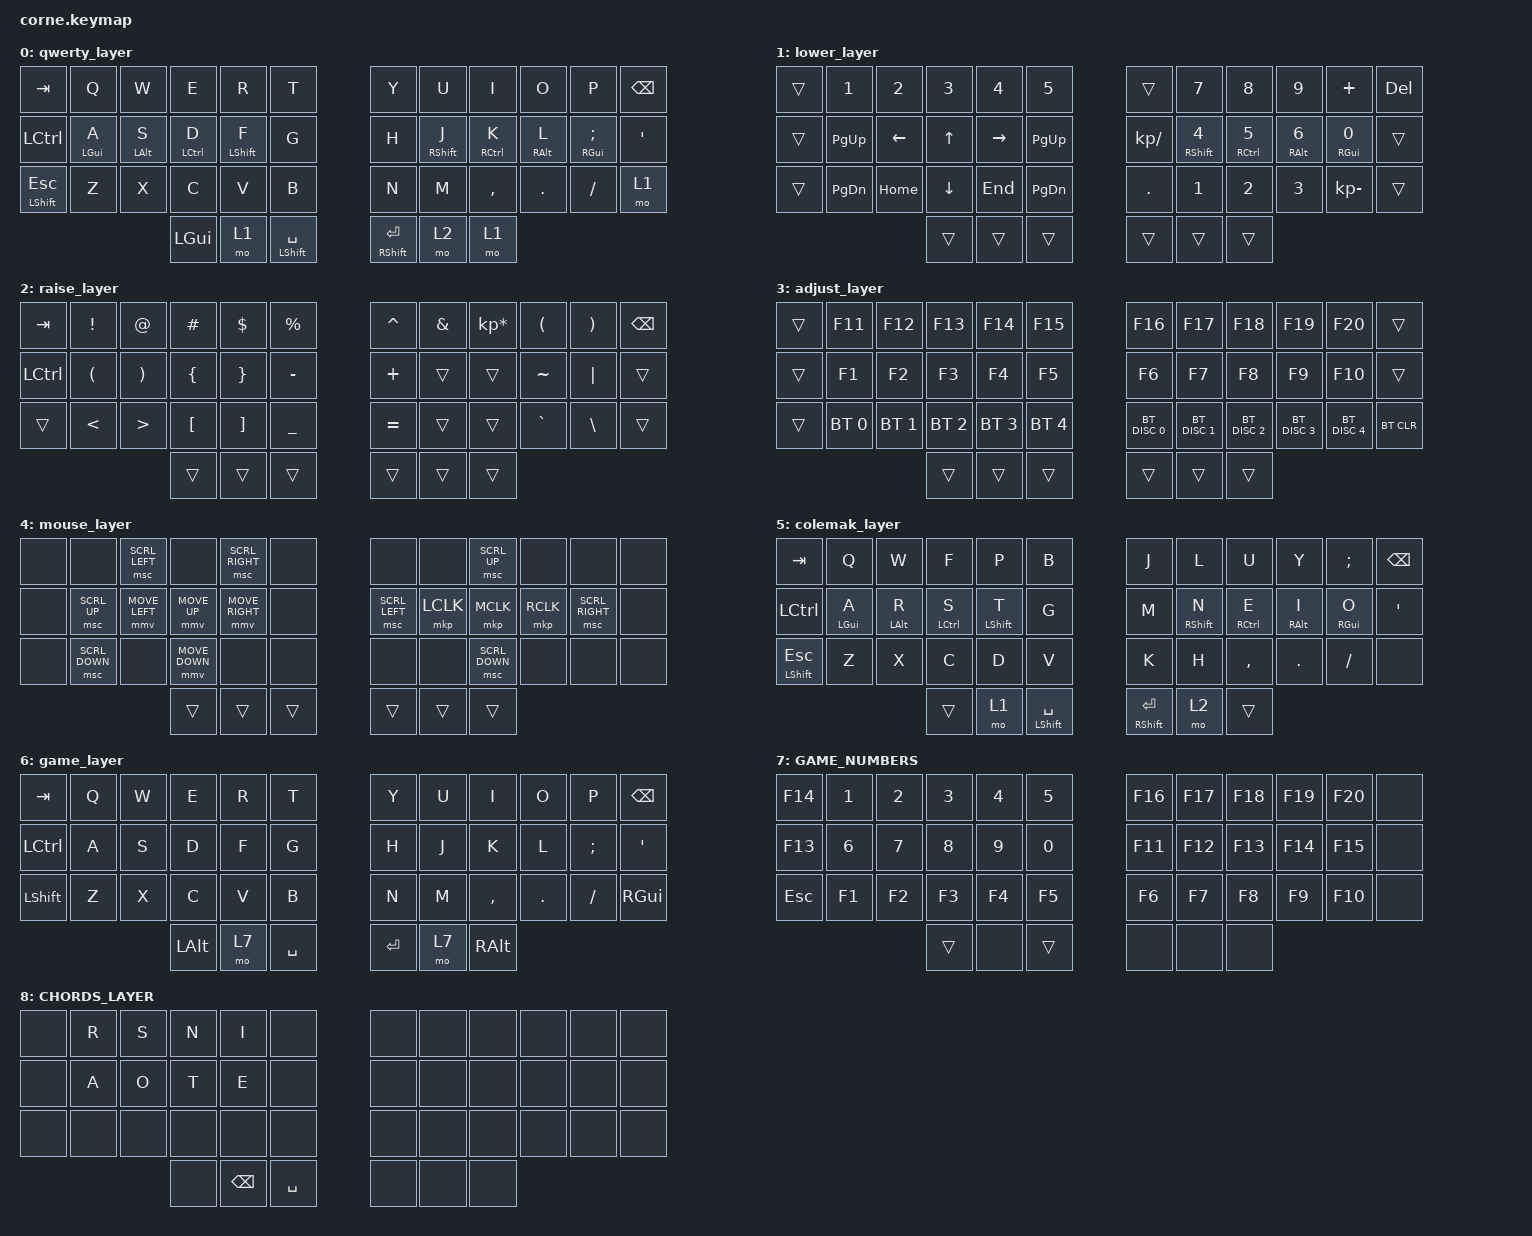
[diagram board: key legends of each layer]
/*
 * Copyright (c) 2020 The ZMK Contributors
 *
 * SPDX-License-Identifier: MIT
 */
// Generated by https://nickcoutsos.github.io/keymap-editor/

#include <behaviors.dtsi>
#include <dt-bindings/zmk/bt.h>
#include <dt-bindings/zmk/keys.h>
#include <dt-bindings/zmk/pointing.h>

#define COMBO_TIMEOUT 100

/ {
    behaviors {
        hmt: homerow_mod_tap {
            compatible = "zmk,behavior-hold-tap";
            #binding-cells = <2>;
            tapping-term-ms = <200>;
            quick-tap-ms = <0>;
            flavor = "balanced";
            bindings = <&kp>, <&kp>;
        };
    };

    combos {
        compatible = "zmk,combos";

        combo_layer_qwerty {
            bindings = <&to 0>;
            key-positions = <0 2>;
            timeout-ms = <COMBO_TIMEOUT>;
        };

        combo_layer_game {
            bindings = <&to 6>;
            key-positions = <0 3>;
            timeout-ms = <COMBO_TIMEOUT>;
        };

        combo_layer_chords {
            bindings = <&to 8>;
            key-positions = <0 4>;
            timeout-ms = <COMBO_TIMEOUT>;
        };

        combo_layer_colemak {
            bindings = <&to 5>;
            key-positions = <0 5>;
            timeout-ms = <COMBO_TIMEOUT>;
        };

        mouse_layer {
            bindings = <&to 4>;
            key-positions = <6 8>;
        };

        left_lower_b {
            bindings = <&kp B>;
            key-positions = <1 2>;
            layers = <8>;
            timeout-ms = <COMBO_TIMEOUT>;
        };

        left_lower_l {
            bindings = <&kp L>;
            key-positions = <13 14>;
            layers = <8>;
            timeout-ms = <COMBO_TIMEOUT>;
        };

        left_lower_p {
            bindings = <&kp P>;
            key-positions = <2 3>;
            layers = <8>;
            timeout-ms = <COMBO_TIMEOUT>;
        };

        left_lower_g {
            bindings = <&kp G>;
            key-positions = <1 4>;
            layers = <8>;
            timeout-ms = <COMBO_TIMEOUT>;
        };

        left_lower_z {
            bindings = <&kp Z>;
            key-positions = <1 3>;
            layers = <8>;
            timeout-ms = <COMBO_TIMEOUT>;
        };

        left_lower_q {
            bindings = <&kp Q>;
            key-positions = <13 15>;
            layers = <8>;
            timeout-ms = <COMBO_TIMEOUT>;
        };

        left_lower_x {
            bindings = <&kp X>;
            key-positions = <1 15>;
            layers = <8>;
            timeout-ms = <COMBO_TIMEOUT>;
        };

        left_lower_v {
            bindings = <&kp V>;
            key-positions = <2 16>;
            layers = <8>;
            timeout-ms = <COMBO_TIMEOUT>;
        };

        left_lower_m {
            bindings = <&kp M>;
            key-positions = <1 16>;
            layers = <8>;
            timeout-ms = <COMBO_TIMEOUT>;
        };

        left_lower_y {
            bindings = <&kp Y>;
            key-positions = <4 3>;
            layers = <8>;
            timeout-ms = <COMBO_TIMEOUT>;
        };

        left_lower_h {
            bindings = <&kp H>;
            key-positions = <16 15>;
            layers = <8>;
            timeout-ms = <COMBO_TIMEOUT>;
        };

        left_lower_u {
            bindings = <&kp U>;
            key-positions = <15 14>;
            layers = <8>;
            timeout-ms = <COMBO_TIMEOUT>;
        };

        left_lower_d {
            bindings = <&kp D>;
            key-positions = <13 16>;
            layers = <8>;
            timeout-ms = <COMBO_TIMEOUT>;
        };

        left_lower_f {
            bindings = <&kp F>;
            key-positions = <4 2>;
            layers = <8>;
            timeout-ms = <COMBO_TIMEOUT>;
        };

        left_lower_c {
            bindings = <&kp C>;
            key-positions = <16 14>;
            layers = <8>;
            timeout-ms = <COMBO_TIMEOUT>;
        };

        left_lower_k {
            bindings = <&kp K>;
            key-positions = <14 4>;
            layers = <8>;
            timeout-ms = <COMBO_TIMEOUT>;
        };

        left_lower_j {
            bindings = <&kp J>;
            key-positions = <13 3>;
            layers = <8>;
            timeout-ms = <COMBO_TIMEOUT>;
        };

        left_lower_w {
            bindings = <&kp W>;
            key-positions = <13 4>;
            layers = <8>;
            timeout-ms = <COMBO_TIMEOUT>;
        };

        left_forwardshash {
            bindings = <&kp SLASH>;
            key-positions = <2 15>;
            layers = <8>;
            timeout-ms = <COMBO_TIMEOUT>;
        };

        left_semicolon {
            bindings = <&kp SEMICOLON>;
            key-positions = <1 14>;
            layers = <8>;
            timeout-ms = <COMBO_TIMEOUT>;
        };

        left_comma {
            bindings = <&kp COMMA>;
            key-positions = <3 16>;
            layers = <8>;
            timeout-ms = <COMBO_TIMEOUT>;
        };

        left_minus {
            bindings = <&kp MINUS>;
            key-positions = <3 14>;
            layers = <8>;
            timeout-ms = <COMBO_TIMEOUT>;
        };

        left_question {
            bindings = <&kp QUESTION>;
            key-positions = <15 4>;
            layers = <8>;
            timeout-ms = <COMBO_TIMEOUT>;
        };

        left_quote {
            bindings = <&kp SINGLE_QUOTE>;
            key-positions = <13 2>;
            layers = <8>;
            timeout-ms = <COMBO_TIMEOUT>;
        };

        left_upper_r {
            bindings = <&kp LS(R)>;
            key-positions = <37 1>;
            layers = <8>;
            timeout-ms = <COMBO_TIMEOUT>;
        };

        left_upper_s {
            bindings = <&kp LS(S)>;
            key-positions = <37 2>;
            layers = <8>;
            timeout-ms = <COMBO_TIMEOUT>;
        };

        left_upper_n {
            bindings = <&kp LS(N)>;
            key-positions = <37 3>;
            layers = <8>;
            timeout-ms = <COMBO_TIMEOUT>;
        };

        left_upper_i {
            bindings = <&kp LS(I)>;
            key-positions = <37 4>;
            layers = <8>;
            timeout-ms = <COMBO_TIMEOUT>;
        };

        left_upper_a {
            bindings = <&kp LS(A)>;
            key-positions = <37 13>;
            layers = <8>;
            timeout-ms = <COMBO_TIMEOUT>;
        };

        left_upper_o {
            bindings = <&kp LS(O)>;
            key-positions = <37 14>;
            layers = <8>;
            timeout-ms = <COMBO_TIMEOUT>;
        };

        left_upper_t {
            bindings = <&kp LS(T)>;
            key-positions = <37 15>;
            layers = <8>;
            timeout-ms = <COMBO_TIMEOUT>;
        };

        left_upper_e {
            bindings = <&kp LS(E)>;
            key-positions = <37 16>;
            layers = <8>;
            timeout-ms = <COMBO_TIMEOUT>;
        };

        left_upper_b {
            bindings = <&kp LS(B)>;
            key-positions = <37 1 2>;
            layers = <8>;
            timeout-ms = <COMBO_TIMEOUT>;
        };

        left_upper_l {
            bindings = <&kp LS(L)>;
            key-positions = <37 13 14>;
            layers = <8>;
            timeout-ms = <COMBO_TIMEOUT>;
        };

        left_upper_p {
            bindings = <&kp LS(P)>;
            key-positions = <37 2 3>;
            layers = <8>;
            timeout-ms = <COMBO_TIMEOUT>;
        };

        left_upper_g {
            bindings = <&kp LS(G)>;
            key-positions = <37 1 4>;
            layers = <8>;
            timeout-ms = <COMBO_TIMEOUT>;
        };

        left_upper_z {
            bindings = <&kp LS(Z)>;
            key-positions = <37 1 3>;
            layers = <8>;
            timeout-ms = <COMBO_TIMEOUT>;
        };

        left_upper_q {
            bindings = <&kp LS(Q)>;
            key-positions = <37 13 15>;
            layers = <8>;
            timeout-ms = <COMBO_TIMEOUT>;
        };

        left_upper_x {
            bindings = <&kp LS(X)>;
            key-positions = <37 1 15>;
            layers = <8>;
            timeout-ms = <COMBO_TIMEOUT>;
        };

        left_upper_v {
            bindings = <&kp LS(V)>;
            key-positions = <37 2 16>;
            layers = <8>;
            timeout-ms = <COMBO_TIMEOUT>;
        };

        left_upper_m {
            bindings = <&kp LS(M)>;
            key-positions = <37 1 16>;
            layers = <8>;
            timeout-ms = <COMBO_TIMEOUT>;
        };

        left_upper_y {
            bindings = <&kp LS(Y)>;
            key-positions = <37 4 3>;
            layers = <8>;
            timeout-ms = <COMBO_TIMEOUT>;
        };

        left_upper_h {
            bindings = <&kp LS(H)>;
            key-positions = <37 16 15>;
            layers = <8>;
            timeout-ms = <COMBO_TIMEOUT>;
        };

        left_upper_u {
            bindings = <&kp LS(U)>;
            key-positions = <37 15 14>;
            layers = <8>;
            timeout-ms = <COMBO_TIMEOUT>;
        };

        left_upper_d {
            bindings = <&kp LS(D)>;
            key-positions = <37 13 16>;
            layers = <8>;
            timeout-ms = <COMBO_TIMEOUT>;
        };

        left_upper_f {
            bindings = <&kp LS(F)>;
            key-positions = <37 4 2>;
            layers = <8>;
            timeout-ms = <COMBO_TIMEOUT>;
        };

        left_upper_c {
            bindings = <&kp LS(C)>;
            key-positions = <37 16 14>;
            layers = <8>;
            timeout-ms = <COMBO_TIMEOUT>;
        };

        left_upper_k {
            bindings = <&kp LS(K)>;
            key-positions = <37 14 4>;
            layers = <8>;
            timeout-ms = <COMBO_TIMEOUT>;
        };

        left_upper_j {
            bindings = <&kp LS(J)>;
            key-positions = <37 13 3>;
            layers = <8>;
            timeout-ms = <COMBO_TIMEOUT>;
        };

        left_upper_w {
            bindings = <&kp LS(W)>;
            key-positions = <37 13 4>;
            layers = <8>;
            timeout-ms = <COMBO_TIMEOUT>;
        };

        left_backslash {
            bindings = <&kp BACKSLASH>;
            key-positions = <2 15 37>;
            layers = <8>;
            timeout-ms = <COMBO_TIMEOUT>;
        };

        left_colon {
            bindings = <&kp COLON>;
            key-positions = <37 1 14>;
            layers = <8>;
            timeout-ms = <COMBO_TIMEOUT>;
        };

        left_period {
            bindings = <&kp PERIOD>;
            key-positions = <37 16 3>;
            layers = <8>;
            timeout-ms = <COMBO_TIMEOUT>;
        };

        left_underscore {
            bindings = <&kp UNDERSCORE>;
            key-positions = <37 14 3>;
            layers = <8>;
            timeout-ms = <COMBO_TIMEOUT>;
        };

        left_bang {
            bindings = <&kp EXCLAMATION>;
            key-positions = <37 15 4>;
            layers = <8>;
            timeout-ms = <COMBO_TIMEOUT>;
        };

        left_double_quote {
            bindings = <&kp DOUBLE_QUOTES>;
            key-positions = <37 13 2>;
            layers = <8>;
            timeout-ms = <COMBO_TIMEOUT>;
        };

        left_9 {
            bindings = <&kp NUMBER_9>;
            key-positions = <38 1 2>;
            layers = <8>;
            timeout-ms = <COMBO_TIMEOUT>;
        };

        left_4 {
            bindings = <&kp NUMBER_4>;
            key-positions = <13 14 38>;
            layers = <8>;
            timeout-ms = <COMBO_TIMEOUT>;
        };

        left_7 {
            bindings = <&kp NUMBER_7>;
            key-positions = <2 3 38>;
            layers = <8>;
            timeout-ms = <COMBO_TIMEOUT>;
        };

        left_hash {
            bindings = <&kp HASH>;
            key-positions = <1 4 38>;
            layers = <8>;
            timeout-ms = <COMBO_TIMEOUT>;
        };

        left_8 {
            bindings = <&kp NUMBER_8>;
            key-positions = <1 3 38>;
            layers = <8>;
            timeout-ms = <COMBO_TIMEOUT>;
        };

        left_3 {
            bindings = <&kp NUMBER_3>;
            key-positions = <15 13 38>;
            layers = <8>;
            timeout-ms = <COMBO_TIMEOUT>;
        };

        left_carot {
            bindings = <&kp CARET>;
            key-positions = <1 15 38>;
            layers = <8>;
            timeout-ms = <COMBO_TIMEOUT>;
        };

        left_asterisk {
            bindings = <&kp ASTERISK>;
            key-positions = <16 2 38>;
            layers = <8>;
            timeout-ms = <COMBO_TIMEOUT>;
        };

        left_dollar {
            bindings = <&kp DOLLAR>;
            key-positions = <1 16 38>;
            layers = <8>;
            timeout-ms = <COMBO_TIMEOUT>;
        };

        left_pipe {
            bindings = <&kp PIPE>;
            key-positions = <2 15 38>;
            layers = <8>;
            timeout-ms = <COMBO_TIMEOUT>;
        };

        left_tilde {
            bindings = <&kp TILDE>;
            key-positions = <16 3 38>;
            layers = <8>;
            timeout-ms = <COMBO_TIMEOUT>;
        };

        left_5 {
            bindings = <&kp NUMBER_5>;
            key-positions = <3 4 38>;
            layers = <8>;
            timeout-ms = <COMBO_TIMEOUT>;
        };

        left_0 {
            bindings = <&kp NUMBER_0>;
            key-positions = <16 15 38>;
            layers = <8>;
            timeout-ms = <COMBO_TIMEOUT>;
        };

        left_2 {
            bindings = <&kp NUMBER_2>;
            key-positions = <14 15 38>;
            layers = <8>;
            timeout-ms = <COMBO_TIMEOUT>;
        };

        left_at {
            bindings = <&kp AT_SIGN>;
            key-positions = <13 16 38>;
            layers = <8>;
            timeout-ms = <COMBO_TIMEOUT>;
        };

        left_6 {
            bindings = <&kp NUMBER_6>;
            key-positions = <2 4 38>;
            layers = <8>;
            timeout-ms = <COMBO_TIMEOUT>;
        };

        left_1 {
            bindings = <&kp NUMBER_1>;
            key-positions = <16 14 38>;
            layers = <8>;
            timeout-ms = <COMBO_TIMEOUT>;
        };

        left_plus {
            bindings = <&kp PLUS>;
            key-positions = <14 4 38>;
            layers = <8>;
            timeout-ms = <COMBO_TIMEOUT>;
        };

        left_equal {
            bindings = <&kp EQUAL>;
            key-positions = <13 3 38>;
            layers = <8>;
            timeout-ms = <COMBO_TIMEOUT>;
        };

        left_and {
            bindings = <&kp AMPERSAND>;
            key-positions = <13 4 38>;
            layers = <8>;
            timeout-ms = <COMBO_TIMEOUT>;
        };

        left_percent {
            bindings = <&kp PERCENT>;
            key-positions = <14 3 38>;
            layers = <8>;
            timeout-ms = <COMBO_TIMEOUT>;
        };

        left_backtick {
            bindings = <&kp GRAVE>;
            key-positions = <13 2 38>;
            layers = <8>;
            timeout-ms = <COMBO_TIMEOUT>;
        };

        left_lessthan {
            bindings = <&kp LS(LESS_THAN)>;
            key-positions = <13 38>;
            layers = <8>;
            timeout-ms = <COMBO_TIMEOUT>;
        };

        left_greaterthan {
            bindings = <&kp GREATER_THAN>;
            key-positions = <1 38>;
            layers = <8>;
            timeout-ms = <COMBO_TIMEOUT>;
        };

        left_openbrace {
            bindings = <&kp LEFT_BRACE>;
            key-positions = <14 38>;
            layers = <8>;
            timeout-ms = <COMBO_TIMEOUT>;
        };

        left_closebrace {
            bindings = <&kp RIGHT_BRACE>;
            key-positions = <2 38>;
            layers = <8>;
            timeout-ms = <COMBO_TIMEOUT>;
        };

        left_openbracket {
            bindings = <&kp LEFT_BRACKET>;
            key-positions = <15 38>;
            layers = <8>;
            timeout-ms = <COMBO_TIMEOUT>;
        };

        left_closebracket {
            bindings = <&kp RIGHT_BRACKET>;
            key-positions = <3 38>;
            layers = <8>;
            timeout-ms = <COMBO_TIMEOUT>;
        };

        left_openparen {
            bindings = <&kp LEFT_PARENTHESIS>;
            key-positions = <16 38>;
            layers = <8>;
            timeout-ms = <COMBO_TIMEOUT>;
        };

        left_closeparen {
            bindings = <&kp RIGHT_PARENTHESIS>;
            key-positions = <4 38>;
            layers = <8>;
            timeout-ms = <COMBO_TIMEOUT>;
        };

        left_tab {
            bindings = <&kp TAB>;
            key-positions = <2 3 4>;
            layers = <8>;
            timeout-ms = <COMBO_TIMEOUT>;
        };

        left_enter {
            bindings = <&kp ENTER>;
            key-positions = <14 15 16>;
            layers = <8>;
            timeout-ms = <COMBO_TIMEOUT>;
        };

        left_super {
            bindings = <&sk LEFT_GUI>;
            key-positions = <1 13>;
            layers = <8>;
            timeout-ms = <COMBO_TIMEOUT>;
        };

        left_alt {
            bindings = <&sk LEFT_ALT>;
            key-positions = <2 14>;
            layers = <8>;
            timeout-ms = <COMBO_TIMEOUT>;
        };

        left_control {
            bindings = <&sk LEFT_CONTROL>;
            key-positions = <3 15>;
            layers = <8>;
            timeout-ms = <COMBO_TIMEOUT>;
        };

        left_shift {
            bindings = <&sk LEFT_SHIFT>;
            key-positions = <4 16>;
            layers = <8>;
            timeout-ms = <COMBO_TIMEOUT>;
        };

        left_delete {
            bindings = <&kp DELETE>;
            key-positions = <2 3 4 38>;
            layers = <8>;
            timeout-ms = <COMBO_TIMEOUT>;
        };

        left_backspace {
            bindings = <&kp BACKSPACE>;
            key-positions = <2 3 4 37>;
            layers = <8>;
            timeout-ms = <COMBO_TIMEOUT>;
        };

        left_escape {
            bindings = <&kp ESCAPE>;
            key-positions = <14 15 16 37>;
            layers = <8>;
            timeout-ms = <COMBO_TIMEOUT>;
        };
    };

    keymap {
        compatible = "zmk,keymap";

        qwerty_layer {
            // -----------------------------------------------------------------------------------------
            // |  TAB |  Q  |  W  |  E  |  R  |  T  |   |  Y  |  U   |  I  |  O  |  P  | BKSP |
            // | CTRL |  A  |  S  |  D  |  F  |  G  |   |  H  |  J   |  K  |  L  |  ;  |  '   |
            // | SHFT |  Z  |  X  |  C  |  V  |  B  |   |  N  |  M   |  ,  |  .  |  /  | GAME |
            //                    | GUI | LWR | SPC |   | ENT | RSE  | ALT |

            bindings = <
&kp TAB         &kp Q        &kp W        &kp E         &kp R         &kp T                    &kp Y                 &kp U         &kp I         &kp O        &kp P           &kp BSPC
&kp LCTRL       &hmt LGUI A  &hmt LALT S  &hmt LCTRL D  &hmt LSHFT F  &kp G                    &kp H                 &hmt RSHFT J  &hmt RCTRL K  &hmt RALT L  &hmt RGUI SEMI  &kp SQT
&hmt LSHFT ESC  &kp Z        &kp X        &kp C         &kp V         &kp B                    &kp N                 &kp M         &kp COMMA     &kp DOT      &kp FSLH        &mo 1
                                          &kp LGUI      &mo 1         &hmt LEFT_SHIFT SPACE    &hmt RIGHT_SHIFT RET  &mo 2         &mo 1
            >;
        };

        lower_layer {
            bindings = <
&trans  &kp N1         &kp N2    &kp N3    &kp N4     &kp N5           &trans         &kp N7          &kp N8         &kp N9             &kp PLUS           &kp DEL
&trans  &kp PAGE_UP    &kp LEFT  &kp UP    &kp RIGHT  &kp PAGE_UP      &kp KP_DIVIDE  &hmt RSHIFT N4  &hmt RCTRL N5  &hmt RIGHT_ALT N6  &hmt RIGHT_GUI N0  &trans
&trans  &kp PAGE_DOWN  &kp HOME  &kp DOWN  &kp END    &kp PAGE_DOWN    &kp PERIOD     &kp N1          &kp N2         &kp N3             &kp KP_MINUS       &trans
                                 &trans    &trans     &trans           &trans         &trans          &trans
            >;
        };

        raise_layer {
            bindings = <
&kp TAB    &kp EXCL              &kp AT                 &kp HASH          &kp DLLR           &kp PRCNT         &kp CARET  &kp AMPS  &kp KP_MULTIPLY  &kp LPAR   &kp RPAR       &kp BSPC
&kp LCTRL  &kp LEFT_PARENTHESIS  &kp RIGHT_PARENTHESIS  &kp LEFT_BRACE    &kp RIGHT_BRACE    &kp MINUS         &kp PLUS   &trans    &trans           &kp TILDE  &kp PIPE       &trans
&trans     &kp LT                &kp GT                 &kp LEFT_BRACKET  &kp RIGHT_BRACKET  &kp UNDERSCORE    &kp EQUAL  &trans    &trans           &kp GRAVE  &kp BACKSLASH  &trans
                                                        &trans            &trans             &trans            &trans     &trans    &trans
            >;
        };

        adjust_layer {
            bindings = <
&trans  &kp F11       &kp F12       &kp F13       &kp F14       &kp F15         &kp F16        &kp F17        &kp F18        &kp F19        &kp F20        &trans
&trans  &kp F1        &kp F2        &kp F3        &kp F4        &kp F5          &kp F6         &kp F7         &kp F8         &kp F9         &kp F10        &trans
&trans  &bt BT_SEL 0  &bt BT_SEL 1  &bt BT_SEL 2  &bt BT_SEL 3  &bt BT_SEL 4    &bt BT_DISC 0  &bt BT_DISC 1  &bt BT_DISC 2  &bt BT_DISC 3  &bt BT_DISC 4  &bt BT_CLR
                                    &trans        &trans        &trans          &trans         &trans         &trans
            >;
        };

        mouse_layer {
            bindings = <
&none  &none           &msc SCRL_LEFT  &none           &msc SCRL_RIGHT  &none     &none           &none      &msc SCRL_UP    &none      &none            &none
&none  &msc SCRL_UP    &mmv MOVE_LEFT  &mmv MOVE_UP    &mmv MOVE_RIGHT  &none     &msc SCRL_LEFT  &mkp LCLK  &mkp MCLK       &mkp RCLK  &msc SCRL_RIGHT  &none
&none  &msc SCRL_DOWN  &none           &mmv MOVE_DOWN  &none            &none     &none           &none      &msc SCRL_DOWN  &none      &none            &none
                                       &trans          &trans           &trans    &trans          &trans     &trans
            >;
        };

        colemak_layer {
            bindings = <
&kp TAB         &kp Q        &kp W        &kp F         &kp P         &kp B                    &kp J                   &kp L         &kp U         &kp Y        &kp SEMI     &kp BSPC
&kp LCTRL       &hmt LGUI A  &hmt LALT R  &hmt LCTRL S  &hmt LSHFT T  &kp G                    &kp M                   &hmt RSHFT N  &hmt RCTRL E  &hmt RALT I  &hmt RGUI O  &kp APOS
&hmt LSHFT ESC  &kp Z        &kp X        &kp C         &kp D         &kp V                    &kp K                   &kp H         &kp COMMA     &kp DOT      &kp FSLH     &none
                                          &trans        &mo 1         &hmt LEFT_SHIFT SPACE    &hmt RIGHT_SHIFT ENTER  &mo 2         &trans
            >;
        };

        game_layer {
            bindings = <
&kp TAB    &kp Q  &kp W  &kp E         &kp R  &kp T        &kp Y      &kp U  &kp I          &kp O    &kp P     &kp BACKSPACE
&kp LCTRL  &kp A  &kp S  &kp D         &kp F  &kp G        &kp H      &kp J  &kp K          &kp L    &kp SEMI  &kp SINGLE_QUOTE
&kp LSHFT  &kp Z  &kp X  &kp C         &kp V  &kp B        &kp N      &kp M  &kp COMMA      &kp DOT  &kp FSLH  &kp RIGHT_GUI
                         &kp LEFT_ALT  &mo 7  &kp SPACE    &kp ENTER  &mo 7  &kp RIGHT_ALT
            >;
        };

        GAME_NUMBERS {
            bindings = <
&kp F14  &kp N1  &kp N2  &kp N3  &kp N4  &kp N5    &kp F16  &kp F17  &kp F18  &kp F19  &kp F20  &none
&kp F13  &kp N6  &kp N7  &kp N8  &kp N9  &kp N0    &kp F11  &kp F12  &kp F13  &kp F14  &kp F15  &none
&kp ESC  &kp F1  &kp F2  &kp F3  &kp F4  &kp F5    &kp F6   &kp F7   &kp F8   &kp F9   &kp F10  &none
                         &trans  &none   &trans    &none    &none    &none
            >;
        };

        CHORDS_LAYER {
            bindings = <
&none  &kp R  &kp S  &kp N  &kp I          &none        &none  &none  &none  &none  &none  &none
&none  &kp A  &kp O  &kp T  &kp E          &none        &none  &none  &none  &none  &none  &none
&none  &none  &none  &none  &none          &none        &none  &none  &none  &none  &none  &none
                     &none  &kp BACKSPACE  &kp SPACE    &none  &none  &none
            >;
        };
    };

    conditional_layers {
        compatible = "zmk,conditional-layers";

        adjust {
            if-layers = <1 2>;
            then-layer = <3>;
        };
    };
};
